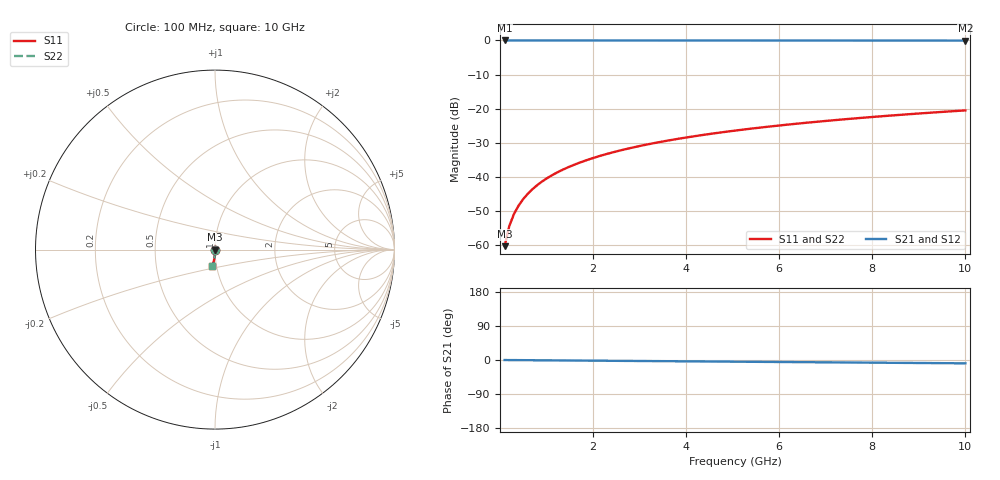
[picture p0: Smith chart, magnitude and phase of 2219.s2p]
# Hz S RI R 50.00
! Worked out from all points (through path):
!   100 points, 100 MHz to 10 GHz, reference 50 ohm
!   highest |S21| = 0.00 dB at 100 MHz (marker M1); lowest = 0.0 dB at 10 GHz (marker M2)
!   group delay of S21, straight-line fit = 2.44 ps
!   lowest |S11| = -60.4 dB at 100 MHz (marker M3), VSWR 1.00, Z = 50 - j0.0939 ohm
!   |S11| at or under -10 dB: start of sweep to end of sweep
!   |S22| runs from -60.4 to -20.5 dB; largest |S21 - S12| = 0
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1e8  0.000175 -0.000939  0.9998 -0.00152  0.9998 -0.00152  0.000175 -0.000939
2e8  0.000171 -0.00188  0.9998 -0.00305  0.9998 -0.00305  0.000171 -0.00188
3e8  0.000164 -0.00282  0.9998 -0.00457  0.9998 -0.00457  0.000164 -0.00282
4e8  0.000153 -0.00375  0.9998 -0.0061  0.9998 -0.0061  0.000153 -0.00375
5e8  0.00014 -0.00469  0.9998 -0.00762  0.9998 -0.00762  0.00014 -0.00469
6e8  0.000123 -0.00563  0.9998 -0.00915  0.9998 -0.00915  0.000123 -0.00563
7e8  0.000104 -0.00657  0.9997 -0.0107  0.9997 -0.0107  0.000104 -0.00657
8e8  8.19e-05 -0.00751  0.9997 -0.0122  0.9997 -0.0122  8.19e-05 -0.00751
9e8  5.69e-05 -0.00845  0.9997 -0.0137  0.9997 -0.0137  5.69e-05 -0.00845
1.1e9  -1.99e-06 -0.0103  0.9996 -0.0168  0.9996 -0.0168  -1.99e-06 -0.0103
1.4e9  -0.000112 -0.0131  0.9995 -0.0213  0.9995 -0.0213  -0.000112 -0.0131
1.8e9  -0.000299 -0.0169  0.9993 -0.0274  0.9993 -0.0274  -0.000299 -0.0169
2.1e9  -0.000469 -0.0197  0.9991 -0.032  0.9991 -0.032  -0.000469 -0.0197
2.5e9  -0.000737 -0.0235  0.9988 -0.0381  0.9988 -0.0381  -0.000737 -0.0235
2.9e9  -0.00105 -0.0272  0.9984 -0.0442  0.9984 -0.0442  -0.00105 -0.0272
3.4e9  -0.00151 -0.0319  0.9979 -0.0518  0.9979 -0.0518  -0.00151 -0.0319
4.2e9  -0.00239 -0.0394  0.9969 -0.064  0.9969 -0.064  -0.00239 -0.0394
5.1e9  -0.0036 -0.0478  0.9956 -0.0778  0.9956 -0.0778  -0.0036 -0.0478
5.9e9  -0.00487 -0.0553  0.9941 -0.0899  0.9941 -0.0899  -0.00487 -0.0553
6.7e9  -0.00633 -0.0627  0.9925 -0.1021  0.9925 -0.1021  -0.00633 -0.0627
8.4e9  -0.01 -0.0783  0.9883 -0.1278  0.9883 -0.1278  -0.01 -0.0783
1e10  -0.0143 -0.0929  0.9836 -0.1519  0.9836 -0.1519  -0.0143 -0.0929
